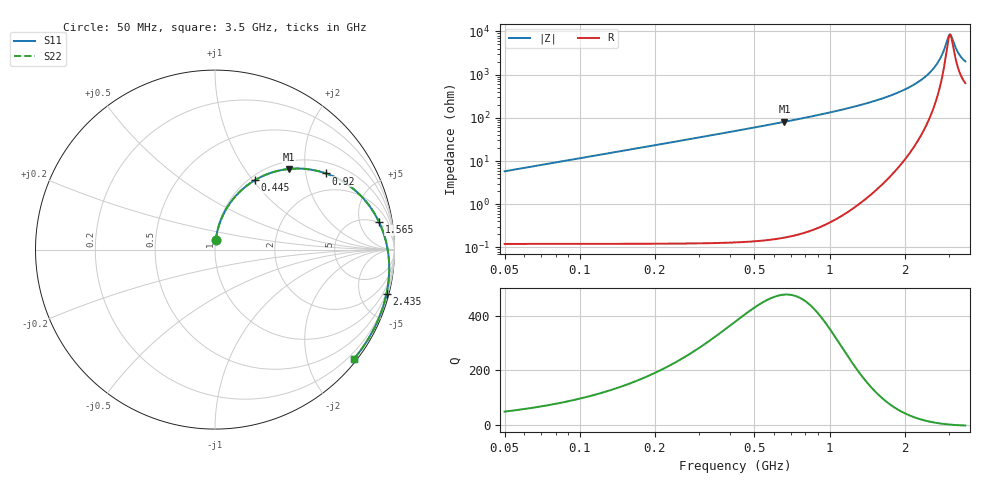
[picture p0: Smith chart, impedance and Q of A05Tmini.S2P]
! Coilcraft A05T_ Mini Spring Air Core Inductor
! 30 May 2003
# MHZ S MA R 50
!Freq  MagS11  AngS11  MagS21  AngS21  MagS12  AngS12  MagS22  AngS22
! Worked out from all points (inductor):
!   691 points, 50 MHz to 3.5 GHz, reference 50 ohm
!   read as one part in series: L = 18.4 nH near 65 MHz
!   highest Q = 480 at 660 MHz (marker M1), where L = 19.5 nH
!   self-resonance near 3.04 GHz
!   S11 on the Smith chart (normalised r, x): 50 MHz: 1.00, +0.11; 445 MHz: 1.06, +1.03; 920 MHz: 1.34, +2.60; 1.565 GHz: 5, +10; 2.435 GHz: 0.42, -7.87; 3.5 GHz: 0.07, -2.88
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50  0.05445 85.3  0.9973 -3.5  0.9973 -3.5  0.05447 85.3
110  0.1193 81.8  0.9917 -7.6  0.9917 -7.6  0.1193 81.8
190  0.2038 76.5  0.9778 -13.1  0.9778 -13.1  0.2038 76.5
300  0.3144 69.3  0.9481 -20.5  0.9481 -20.5  0.3145 69.3
445  0.4463 60.1  0.8937 -29.7  0.8937 -29.7  0.4464 60.1
625  0.5843 49.6  0.8102 -40.3  0.8102 -40.3  0.5845 49.6
660  0.6077 47.6  0.7928 -42.3  0.7928 -42.3  0.6079 47.6
920  0.7496 34.5  0.6598 -55.4  0.6598 -55.4  0.7498 34.5
1200  0.8503 22.5  0.5224 -67.2  0.5224 -67.2  0.8505 22.5
1565  0.9269 9.5  0.3665 -80.0  0.3665 -80.0  0.9271 9.5
1775  0.9526 3.0  0.2898 -86.2  0.2898 -86.2  0.9529 3.0
2350  0.9849 -12.4  0.1246 -99.1  0.1246 -99.1  0.9852 -12.4
2435  0.9867 -14.4  0.1053 -100.3  0.1053 -100.3  0.9869 -14.4
2595  0.9888 -18.2  0.07214 -101.5  0.07214 -101.5  0.989 -18.2
2725  0.9895 -21.2  0.04842 -100.2  0.04842 -100.2  0.9897 -21.2
2830  0.9895 -23.5  0.03155 -95.5  0.03155 -95.5  0.9898 -23.5
2925  0.9893 -25.7  0.01869 -82.2  0.01869 -82.2  0.9896 -25.7
3000  0.989 -27.3  0.01192 -53.1  0.01192 -53.1  0.9892 -27.3
3050  0.9887 -28.4  0.01108 -21.9  0.01108 -21.9  0.989 -28.4
3270  0.9872 -33.2  0.02783 30.7  0.02783 30.7  0.9874 -33.2
3380  0.9863 -35.6  0.03632 33.7  0.03632 33.7  0.9865 -35.6
3500  0.9853 -38.2  0.04362 33.8  0.04362 33.8  0.9855 -38.2
